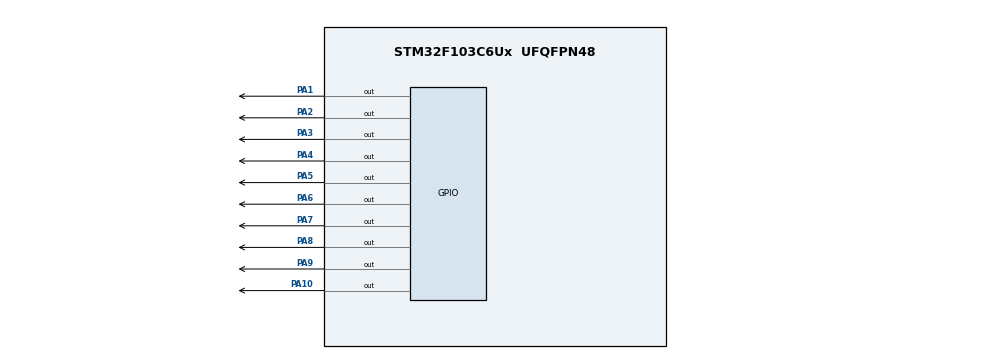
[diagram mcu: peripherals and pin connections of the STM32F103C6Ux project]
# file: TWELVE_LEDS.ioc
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Mcu.Family=STM32F1
Mcu.Name=STM32F103C6Ux
Mcu.Package=UFQFPN48
NVIC.PriorityGroup=NVIC_PRIORITYGROUP_4
PA1.Signal=GPIO_Output
PA10.Signal=GPIO_Output
PA2.Signal=GPIO_Output
PA3.Signal=GPIO_Output
PA4.Signal=GPIO_Output
PA5.Signal=GPIO_Output
PA6.Signal=GPIO_Output
PA7.Signal=GPIO_Output
PA8.Signal=GPIO_Output
PA9.Signal=GPIO_Output
ProjectManager.HeapSize=0x200
ProjectManager.StackSize=0x400
ProjectManager.TargetToolchain=STM32CubeIDE
RCC.APB1Freq_Value=8000000
RCC.APB2Freq_Value=8000000
VP_SYS_VS_ND.Mode=No_Debug
board=custom

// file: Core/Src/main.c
/* USER CODE BEGIN Header */
/**
  ******************************************************************************
  * @file           : main.c
  * @brief          : Main program body
  ******************************************************************************
  * @attention
  *
  * <h2><center>&copy; Copyright (c) 2022 STMicroelectronics.
  * All rights reserved.</center></h2>
  *
  * This software component is licensed by ST under BSD 3-Clause license,
  * the "License"; You may not use this file except in compliance with the
  * License. You may obtain a copy of the License at:
  *                        opensource.org/licenses/BSD-3-Clause
  *
  ******************************************************************************
  */
/* USER CODE END Header */
#include "main.h"

void SystemClock_Config(void);
static void MX_GPIO_Init(void);

int main(void)
{

  /* MCU Configuration--------------------------------------------------------*/

  /* Reset of all peripherals, Initializes the Flash interface and the Systick. */
  HAL_Init();

  /* Configure the system clock */
  SystemClock_Config();

  /* Initialize all configured peripherals */
  MX_GPIO_Init();

  /* Infinite loop */
  /* USER CODE BEGIN WHILE */
  while (1)
  {
	  for (int i = 0; i < 12; i++) {
	  		  HAL_GPIO_WritePin(GPIOA, GPIO_PIN_1|GPIO_PIN_2|GPIO_PIN_3|
	  		  			GPIO_PIN_4|GPIO_PIN_5,RESET);
	  		  HAL_GPIO_WritePin(GPIOA, GPIO_PIN_6|GPIO_PIN_7|GPIO_PIN_8|
	  		  	 		GPIO_PIN_9|GPIO_PIN_10|GPIO_PIN_11|GPIO_PIN_12, SET);

	  		  switch (i){
	  		  case 0:
	  			HAL_GPIO_WritePin(GPIOA, GPIO_PIN_3, SET);
	  			HAL_GPIO_WritePin(GPIOA, GPIO_PIN_6, RESET);
	  			break;
	  		  case 1:
	  			  HAL_GPIO_WritePin(GPIOA, GPIO_PIN_4, SET);
	  			  HAL_GPIO_WritePin(GPIOA, GPIO_PIN_6, RESET);
	  			  break;
	  		  case 2:
	  			  HAL_GPIO_WritePin(GPIOA, GPIO_PIN_5, SET);
	  			  HAL_GPIO_WritePin(GPIOA, GPIO_PIN_7, RESET);
	  			  break;
	  		  case 3:
	  			  HAL_GPIO_WritePin(GPIOA, GPIO_PIN_5, SET);
	  			  HAL_GPIO_WritePin(GPIOA, GPIO_PIN_8, RESET);
	  			  break;
	  		  case 4:
	  			  HAL_GPIO_WritePin(GPIOA, GPIO_PIN_5, SET);
	  			  HAL_GPIO_WritePin(GPIOA, GPIO_PIN_9, RESET);
	  			  break;
	  		  case 5:
	  			  HAL_GPIO_WritePin(GPIOA, GPIO_PIN_4, SET);
	  			  HAL_GPIO_WritePin(GPIOA, GPIO_PIN_10, RESET);
	  			  break;
	  		  case 6:
	  			  HAL_GPIO_WritePin(GPIOA, GPIO_PIN_3, SET);
	  			  HAL_GPIO_WritePin(GPIOA, GPIO_PIN_10, RESET);
	  			  break;
	  		  case 7:
	  			  HAL_GPIO_WritePin(GPIOA, GPIO_PIN_2, SET);
	  			  HAL_GPIO_WritePin(GPIOA, GPIO_PIN_10, RESET);
	  			  break;
	  		  case 8:
	  			  HAL_GPIO_WritePin(GPIOA, GPIO_PIN_1, SET);
	  			  HAL_GPIO_WritePin(GPIOA, GPIO_PIN_9, RESET);
	  			  break;
	  		  case 9:
	  			  HAL_GPIO_WritePin(GPIOA, GPIO_PIN_1, SET);
	  			  HAL_GPIO_WritePin(GPIOA, GPIO_PIN_8, RESET);
	  			  break;
	  		  case 10:
	  			  HAL_GPIO_WritePin(GPIOA, GPIO_PIN_1, SET);
	  			  HAL_GPIO_WritePin(GPIOA, GPIO_PIN_7, RESET);
	  			  break;
	  		  case 11:
	  			  HAL_GPIO_WritePin(GPIOA, GPIO_PIN_2, SET);
	  			  HAL_GPIO_WritePin(GPIOA, GPIO_PIN_6, RESET);
	  			  break;
	  		  }
	  		  HAL_Delay(1000);
	  	  }
    /* USER CODE END WHILE */

  }
}

void SystemClock_Config(void)
{
  RCC_OscInitTypeDef RCC_OscInitStruct = {0};
  RCC_ClkInitTypeDef RCC_ClkInitStruct = {0};

  /** Initializes the RCC Oscillators according to the specified parameters
  * in the RCC_OscInitTypeDef structure.
  */
  RCC_OscInitStruct.OscillatorType = RCC_OSCILLATORTYPE_HSI;
  RCC_OscInitStruct.HSIState = RCC_HSI_ON;
  RCC_OscInitStruct.HSICalibrationValue = RCC_HSICALIBRATION_DEFAULT;
  RCC_OscInitStruct.PLL.PLLState = RCC_PLL_NONE;
  if (HAL_RCC_OscConfig(&RCC_OscInitStruct) != HAL_OK)
  {
    Error_Handler();
  }
  /** Initializes the CPU, AHB and APB buses clocks
  */
  RCC_ClkInitStruct.ClockType = RCC_CLOCKTYPE_HCLK|RCC_CLOCKTYPE_SYSCLK
                              |RCC_CLOCKTYPE_PCLK1|RCC_CLOCKTYPE_PCLK2;
  RCC_ClkInitStruct.SYSCLKSource = RCC_SYSCLKSOURCE_HSI;
  RCC_ClkInitStruct.AHBCLKDivider = RCC_SYSCLK_DIV1;
  RCC_ClkInitStruct.APB1CLKDivider = RCC_HCLK_DIV1;
  RCC_ClkInitStruct.APB2CLKDivider = RCC_HCLK_DIV1;

  if (HAL_RCC_ClockConfig(&RCC_ClkInitStruct, FLASH_LATENCY_0) != HAL_OK)
  {
    Error_Handler();
  }
}

static void MX_GPIO_Init(void)
{
  GPIO_InitTypeDef GPIO_InitStruct = {0};

  /* GPIO Ports Clock Enable */
  __HAL_RCC_GPIOA_CLK_ENABLE();

  /*Configure GPIO pin Output Level */
  HAL_GPIO_WritePin(GPIOA, GPIO_PIN_1|GPIO_PIN_2|GPIO_PIN_3|GPIO_PIN_4
                          |GPIO_PIN_5|GPIO_PIN_6|GPIO_PIN_7|GPIO_PIN_8
                          |GPIO_PIN_9|GPIO_PIN_10, GPIO_PIN_RESET);

  /*Configure GPIO pins : PA1 PA2 PA3 PA4
                           PA5 PA6 PA7 PA8
                           PA9 PA10 */
  GPIO_InitStruct.Pin = GPIO_PIN_1|GPIO_PIN_2|GPIO_PIN_3|GPIO_PIN_4
                          |GPIO_PIN_5|GPIO_PIN_6|GPIO_PIN_7|GPIO_PIN_8
                          |GPIO_PIN_9|GPIO_PIN_10;
  GPIO_InitStruct.Mode = GPIO_MODE_OUTPUT_PP;
  GPIO_InitStruct.Pull = GPIO_NOPULL;
  GPIO_InitStruct.Speed = GPIO_SPEED_FREQ_LOW;
  HAL_GPIO_Init(GPIOA, &GPIO_InitStruct);

}

void Error_Handler(void)
{
  __disable_irq();
  while (1)
  {
  }
}

/************************ (C) COPYRIGHT STMicroelectronics *****END OF FILE****/
